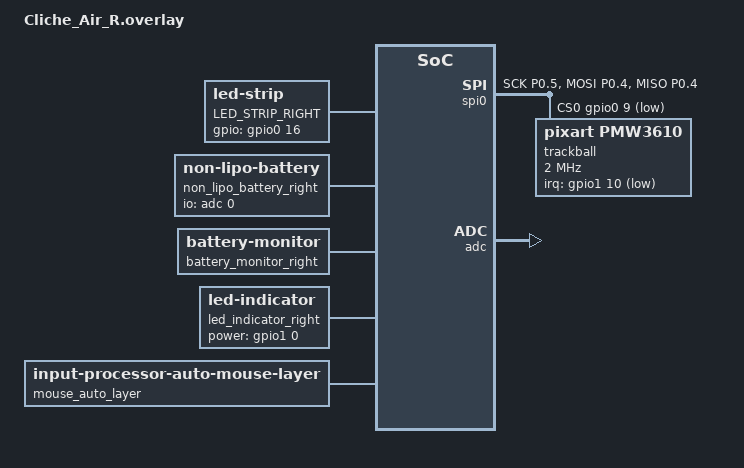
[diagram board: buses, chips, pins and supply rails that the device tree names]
#include "Cliche_Air.dtsi"
#include <input/processors.dtsi>

/* 右手（Peripheral）: トラックボール + Non-LiPo バッテリ + LED + Auto Mouse Layer */

/* マトリクス設定 */
&default_transform {
    col-offset = <6>;
};

/* キースキャン列設定 */
&kscan0 {
    col-gpios =
        <&gpio1 15 GPIO_ACTIVE_HIGH>,
        <&gpio1 14 GPIO_ACTIVE_HIGH>,
        <&gpio1 13 GPIO_ACTIVE_HIGH>,
        <&gpio1 12 GPIO_ACTIVE_HIGH>,
        <&gpio0 10 GPIO_ACTIVE_HIGH>;
};

/* SPI 設定 */
&pinctrl {
    spi0_default: spi0_default {
        group1 {
            psels = <NRF_PSEL(SPIM_SCK, 0, 5)>,
                    <NRF_PSEL(SPIM_MOSI, 0, 4)>,
                    <NRF_PSEL(SPIM_MISO, 0, 4)>;
        };
    };
    spi0_sleep: spi0_sleep {
        group1 {
            psels = <NRF_PSEL(SPIM_SCK, 0, 5)>,
                    <NRF_PSEL(SPIM_MOSI, 0, 4)>,
                    <NRF_PSEL(SPIM_MISO, 0, 4)>;
            low-power-enable;
        };
    };
};

/* SPI デバイス設定 */
&spi0 {
    status = "okay";
    compatible = "nordic,nrf-spim";
    pinctrl-0 = <&spi0_default>;
    pinctrl-1 = <&spi0_sleep>;
    pinctrl-names = "default", "sleep";
    cs-gpios = <&gpio0 9 GPIO_ACTIVE_LOW>;

    trackball: trackball@0 {
        compatible = "pixart,pmw3610";
        reg = <0>;
        spi-max-frequency = <2000000>;
        irq-gpios = <&gpio1 10 (GPIO_ACTIVE_LOW | GPIO_PULL_UP)>;
        evt-type = <0>;
        x-input-code = <0x00>;
        y-input-code = <0x01>;
        status = "okay";
    };
};

/* ADC 有効化 */
&adc {
    status = "okay";
};

/ {
    /* 右手専用 LED ノード */
    sk6812_led_right: led_strip {
        compatible = "zmk,led-strip";
        label = "LED_STRIP_RIGHT";
        gpios = <&gpio0 16 GPIO_ACTIVE_HIGH>;
        chain-length = <10>;
        color-order = "GRB";
        status = "okay";
    };

    /* バッテリ関連 */
    non_lipo_battery_right: non_lipo_battery_right {
        compatible = "zmk,non-lipo-battery";
        io-channels = <&adc 0>;
        status = "okay";
    };

    battery_monitor_right: battery_monitor_right {
        compatible = "zmk,battery-monitor";
        manager = <&non_lipo_battery_right>;
        status = "okay";
    };

    /* LED インジケータ */
    led_indicator_right: led_indicator_right {
        compatible = "zmk,led-indicator";
        led-strip = <&sk6812_led_right>;
        battery = <&battery_monitor_right>;
        power-gpios = <&gpio1 0 GPIO_ACTIVE_HIGH>;
        status = "okay";
    };

    /* ────────────────────────────────
       🧠 Auto Mouse Layer Processor 設定
       ──────────────────────────────── */
    mouse_auto_layer: mouse_auto_layer {
        compatible = "zmk,input-processor-auto-mouse-layer";
        /* トラックボールが停止してからマウスレイヤーを無効化するまでの時間[ms] */
        timeout-ms = <700>;
        /* 自動で有効化・無効化するレイヤー番号 */
        layer = <3>;
        status = "okay";
    };

    /* Input Processor リンク */
    input_processors {
        compatible = "zmk,input-processors";
        sensors = <&trackball>;
        processors = <&mouse_auto_layer>;
        status = "okay";
    };

    /* ZMK 用の alias */
    chosen {
        zmk,battery = &non_lipo_battery_right;
    };

    aliases {
        battery-monitor = &battery_monitor_right;
        led-indicator = &led_indicator_right;
    };
};
